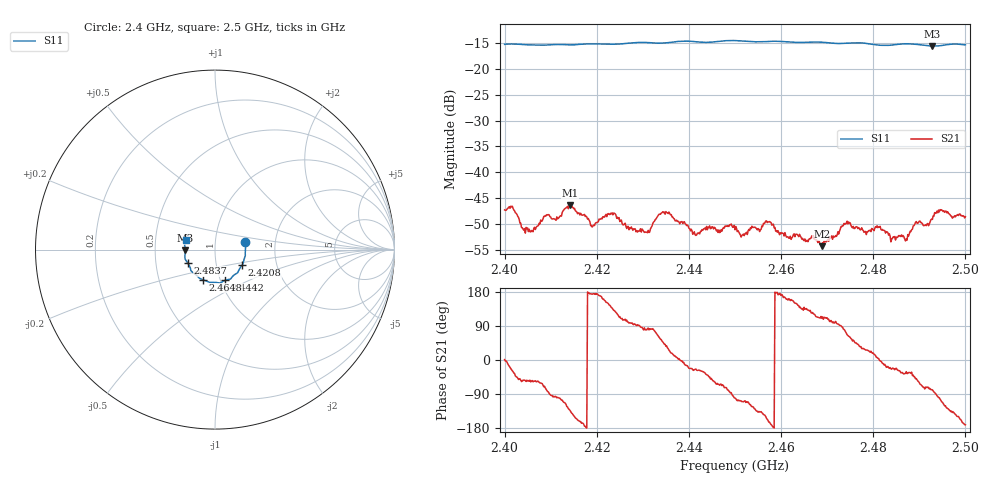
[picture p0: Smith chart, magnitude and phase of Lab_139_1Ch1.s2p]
# Hz S RI R 50
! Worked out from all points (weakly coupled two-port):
!   601 points, 2.4 GHz to 2.5 GHz, reference 50 ohm
!   highest |S21| = -46.35 dB at 2.4142 GHz (marker M1); lowest = -54.3 dB at 2.4688 GHz (marker M2)
!   lowest |S11| = -15.6 dB at 2.4928 GHz (marker M3), VSWR 1.40, Z = 35.8 - j0.338 ohm
!   |S11| at or under -10 dB: start of sweep to end of sweep
!   S12 and S22 are empty: the file has one direction only
!   S11 on the Smith chart (normalised r, x): 2.4 GHz: 1.40, +0.12; 2.4208 GHz: 1.33, -0.24; 2.4442 GHz: 1.05, -0.37; 2.4648 GHz: 0.83, -0.29; 2.4837 GHz: 0.73, -0.11; 2.5 GHz: 0.72, +0.08
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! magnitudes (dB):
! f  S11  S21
! 2.4 GHz  -15.3  -47.3
! 2.4057 GHz  -15.4  -51.5
! 2.4142 GHz  -15.4  -46.4
! 2.4167 GHz  -15.2  -48.2
! 2.4208 GHz  -15.2  -49.0
! 2.4235 GHz  -15.2  -48.2
! 2.4308 GHz  -14.9  -51.6
! 2.4333 GHz  -15.0  -48.3
! 2.4413 GHz  -14.7  -52.1
! 2.4442 GHz  -14.9  -50.7
! 2.45 GHz  -14.5  -51.1
! 2.4517 GHz  -14.6  -52.1
! 2.4572 GHz  -14.7  -49.6
! 2.4648 GHz  -14.9  -53.1
! 2.4667 GHz  -14.8  -52.3
! 2.4688 GHz  -14.8  -54.3
! 2.4745 GHz  -15.0  -50.0
! 2.4833 GHz  -15.5  -52.2
! 2.4837 GHz  -15.4  -52.4
! 2.4872 GHz  -15.2  -52.9
! 2.4928 GHz  -15.6  -49.1
! 2.5 GHz  -15.4  -48.6
